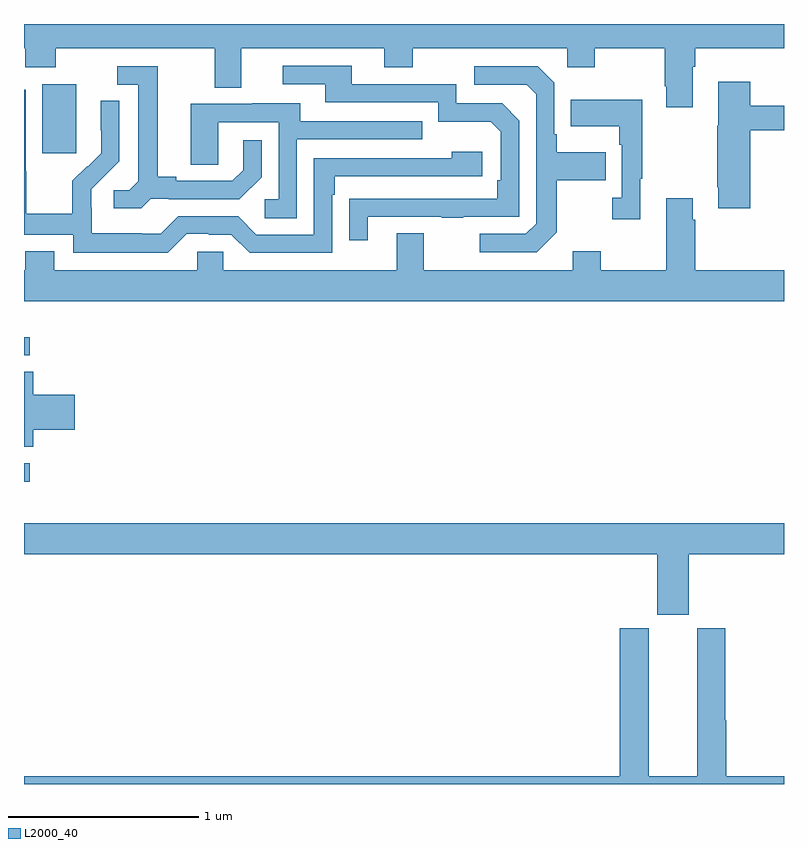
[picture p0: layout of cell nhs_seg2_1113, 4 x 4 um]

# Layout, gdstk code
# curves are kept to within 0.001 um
import gdstk
lib = gdstk.Library(unit=1e-6, precision=1e-09)
def R(c, l, rs):  # rectangles x0, y0, x1, y1
    for r in rs: c.add(gdstk.rectangle(r[:2], r[2:], *l))
def P(c, l, *ps):  # polygons
    for p in ps: c.add(gdstk.Polygon(p, *l))
L2000_40 = (2000, 40)

nhs_seg2_1113 = lib.new_cell('nhs_seg2_1113')
R(nhs_seg2_1113, L2000_40, [(169,609.391,169.03,609.489), (169,610.056,169.03,610.152), (169.097,611.121,169.276,611.482)])
P(nhs_seg2_1113, L2000_40, [(172.519,611.576),(172.532,611.576),(172.532,611.672),(173,611.672),(173,611.8),(169,611.8),(169,611.672),(169.007,611.672),(169.007,611.573),(169.167,611.573),(169.167,611.672),(170.003,611.672),(170.003,611.464),(170.143,611.464),(170.143,611.672),(170.897,611.672),(170.897,611.573),(171.045,611.573),(171.045,611.672),(171.858,611.672),(171.858,611.573),(172.005,611.573),(172.005,611.672),(172.372,611.672),(172.372,611.473),(172.379,611.473),(172.379,611.361),(172.519,611.361)],
  [(170.809,610.785),(171.199,610.785),(171.199,610.78),(171.311,610.78),(171.311,610.785),(171.606,610.785),(171.606,611.292),(171.516,611.382),(171.276,611.382),(171.276,611.484),(170.725,611.484),(170.725,611.58),(170.361,611.58),(170.361,611.484),(170.585,611.484),(170.585,611.388),(171.18,611.388),(171.18,611.285),(171.457,611.285),(171.51,611.232),(171.51,610.978),(171.49,610.978),(171.49,610.881),(170.713,610.88),(170.713,610.662),(170.809,610.662)],
  [(171.805,610.705),(171.805,610.978),(172.061,610.978),(172.061,611.125),(171.805,611.125),(171.805,611.221),(171.792,611.221),(171.792,611.49),(171.705,611.577),(171.369,611.577),(171.369,611.481),(171.645,611.481),(171.696,611.43),(171.696,610.749),(171.642,610.695),(171.399,610.695),(171.399,610.599),(171.699,610.599)],
  [(169.668,610.881),(169.762,610.881),(169.762,610.878),(170.134,610.878),(170.25,610.994),(170.25,611.188),(170.153,611.188),(170.153,611.031),(170.096,610.974),(169.801,610.974),(169.801,610.997),(169.705,610.997),(169.705,611.577),(169.491,611.577),(169.491,611.481),(169.601,611.481),(169.601,610.973),(169.554,610.926),(169.473,610.926),(169.473,610.829),(169.616,610.829)],
  [(172.823,611.242),(173,611.242),(173,611.371),(172.823,611.371),(172.823,611.497),(172.655,611.497),(172.655,611.265),(172.648,611.265),(172.648,610.942),(172.655,610.942),(172.655,610.83),(172.823,610.83)],
  [(169.857,610.695),(169.973,610.695),(169.973,610.692),(170.091,610.692),(170.187,610.596),(170.622,610.596),(170.622,610.901),(170.635,610.901),(170.635,610.998),(171.412,610.998),(171.412,611.128),(171.251,611.128),(171.251,611.094),(170.526,611.094),(170.526,610.692),(170.223,610.692),(170.127,610.788),(169.812,610.788),(169.719,610.695),(169.619,610.695),(169.619,610.699),(169.356,610.699),(169.356,610.833),(169.354,610.833),(169.354,610.93),(169.5,611.078),(169.5,611.396),(169.404,611.396),(169.404,611.242),(169.406,611.242),(169.406,611.12),(169.335,611.049),(169.332,611.052),(169.255,610.975),(169.255,610.801),(169.011,610.801),(169.011,611.024),(169.008,611.024),(169.008,611.454),(169,611.454),(169,610.692),(169.26,610.692),(169.26,610.595),(169.757,610.595)],
  [(172.243,610.985),(172.255,610.985),(172.255,611.401),(171.877,611.401),(171.877,611.261),(172.134,611.261),(172.134,611.165),(172.146,611.165),(172.146,610.886),(172.095,610.886),(172.095,610.773),(172.243,610.773)],
  [(170.436,611.193),(171.095,611.193),(171.095,611.289),(170.455,611.289),(170.455,611.383),(170.201,611.383),(170.201,611.379),(169.877,611.379),(169.877,611.059),(170.022,611.059),(170.022,611.283),(170.34,611.283),(170.34,610.878),(170.268,610.878),(170.268,610.777),(170.436,610.777)],
  [(173,610.504),(172.532,610.504),(172.532,610.769),(172.519,610.769),(172.519,610.882),(172.379,610.882),(172.379,610.504),(172.035,610.504),(172.035,610.603),(171.887,610.603),(171.887,610.504),(171.103,610.504),(171.103,610.699),(170.963,610.699),(170.963,610.504),(170.049,610.504),(170.049,610.602),(169.911,610.602),(169.911,610.504),(169.159,610.504),(169.159,610.603),(169.007,610.603),(169.007,610.504),(169,610.504),(169,610.34),(173,610.34)],
  [(169.049,609.665),(169.267,609.665),(169.267,609.848),(169.049,609.848),(169.049,609.971),(169,609.971),(169,609.574),(169.049,609.574)],
  [(172.498,609.008),(173,609.008),(173,609.172),(169,609.172),(169,609.008),(172.334,609.008),(172.334,608.691),(172.498,608.691)],
  [(173,607.84),(172.697,607.84),(172.697,608.136),(172.692,608.136),(172.692,608.619),(172.544,608.619),(172.544,607.84),(172.288,607.84),(172.288,608.619),(172.136,608.619),(172.136,607.84),(169,607.84),(169,607.8),(173,607.8)])

lib.write_gds('nhs_seg2_1113.gds')
